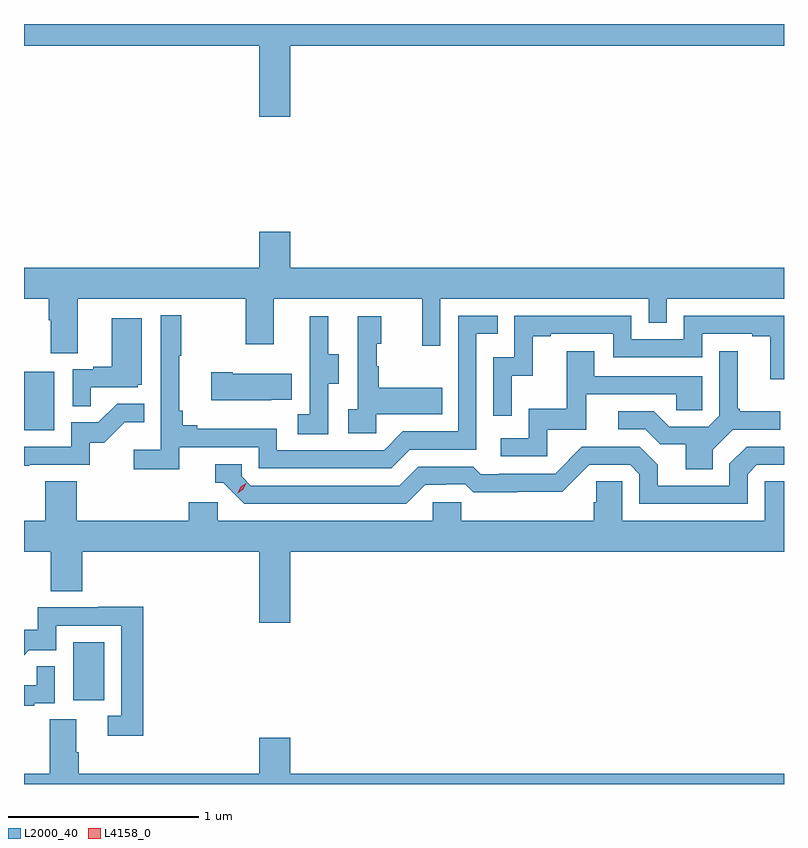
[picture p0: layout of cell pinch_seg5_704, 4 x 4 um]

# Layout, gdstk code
import gdstk
lib = gdstk.Library(unit=1e-6, precision=1e-09)
def R(c, l, rs):  # rectangles x0, y0, x1, y1
    for r in rs: c.add(gdstk.rectangle(r[:2], r[2:], *l))
def P(c, l, *ps):  # polygons
    for p in ps: c.add(gdstk.Polygon(p, *l))
L2000_40 = (2000, 40)
L4158_0 = (4158, 0)

pinch_seg5_704 = lib.new_cell('pinch_seg5_704')
R(pinch_seg5_704, L2000_40, [(1135.058,846.654,1135.222,846.961), (1134.799,848.076,1134.958,848.383)])
P(pinch_seg5_704, L2000_40, [(1136.2,850.1),(1138.799,850.1),(1138.799,850.214),(1134.799,850.214),(1134.799,850.1),(1136.036,850.1),(1136.036,849.726),(1136.2,849.726)],
  [(1135.081,848.768),(1135.966,848.768),(1135.966,848.529),(1136.113,848.529),(1136.113,848.768),(1136.894,848.768),(1136.894,848.52),(1136.991,848.52),(1136.991,848.768),(1138.086,848.768),(1138.086,848.641),(1138.182,848.641),(1138.182,848.768),(1138.799,848.768),(1138.799,848.932),(1136.2,848.932),(1136.2,849.121),(1136.036,849.121),(1136.036,848.932),(1134.799,848.932),(1134.799,848.768),(1134.929,848.768),(1134.929,848.656),(1134.941,848.656),(1134.941,848.482),(1135.081,848.482)],
  [(1135.616,847.986),(1136.034,847.986),(1136.034,847.875),(1136.731,847.875),(1136.83,847.974),(1137.18,847.974),(1137.18,848.583),(1137.293,848.583),(1137.293,848.679),(1137.084,848.679),(1137.084,848.07),(1136.793,848.07),(1136.694,847.971),(1136.13,847.971),(1136.13,848.083),(1135.711,848.083),(1135.711,848.102),(1135.634,848.102),(1135.634,848.179),(1135.615,848.179),(1135.615,848.467),(1135.627,848.467),(1135.627,848.68),(1135.518,848.68),(1135.518,847.972),(1135.377,847.972),(1135.377,847.87),(1135.616,847.87)],
  [(1137.366,848.363),(1137.476,848.363),(1137.476,848.571),(1137.571,848.571),(1137.571,848.583),(1137.9,848.583),(1137.9,848.46),(1138.368,848.46),(1138.368,848.583),(1138.631,848.583),(1138.631,848.571),(1138.727,848.571),(1138.727,848.345),(1138.799,848.345),(1138.799,848.679),(1138.272,848.679),(1138.272,848.556),(1137.996,848.556),(1137.996,848.679),(1137.378,848.679),(1137.378,848.46),(1137.27,848.46),(1137.27,848.151),(1137.366,848.151)],
  [(1136.652,848.159),(1136.999,848.159),(1136.999,848.299),(1136.665,848.299),(1136.665,848.414),(1136.655,848.414),(1136.655,848.532),(1136.68,848.532),(1136.68,848.677),(1136.556,848.677),(1136.556,848.186),(1136.505,848.186),(1136.505,848.061),(1136.652,848.061)],
  [(1136.4,848.32),(1136.455,848.32),(1136.455,848.475),(1136.401,848.475),(1136.401,848.677),(1136.303,848.677),(1136.303,848.463),(1136.304,848.463),(1136.304,848.159),(1136.241,848.159),(1136.241,848.056),(1136.4,848.056)],
  [(1135.151,848.301),(1135.398,848.301),(1135.398,848.316),(1135.42,848.316),(1135.42,848.665),(1135.262,848.665),(1135.262,848.41),(1135.163,848.41),(1135.163,848.397),(1135.056,848.397),(1135.056,848.203),(1135.151,848.203)],
  [(1137.552,848.079),(1137.757,848.079),(1137.757,848.265),(1138.231,848.265),(1138.231,848.181),(1138.368,848.181),(1138.368,848.361),(1137.799,848.361),(1137.799,848.491),(1137.655,848.491),(1137.655,848.188),(1137.456,848.188),(1137.456,848.034),(1137.309,848.034),(1137.309,847.938),(1137.552,847.938)],
  [(1138.423,847.972),(1138.53,848.079),(1138.78,848.079),(1138.78,848.176),(1138.567,848.176),(1138.567,848.188),(1138.555,848.188),(1138.555,848.491),(1138.458,848.491),(1138.458,848.151),(1138.401,848.094),(1138.195,848.094),(1138.114,848.175),(1137.927,848.175),(1137.927,848.082),(1138.068,848.082),(1138.148,848.002),(1138.283,848.002),(1138.283,847.87),(1138.423,847.87)],
  [(1136.099,848.237),(1136.207,848.237),(1136.207,848.374),(1135.897,848.374),(1135.897,848.382),(1135.785,848.382),(1135.785,848.234),(1136.099,848.234)],
  [(1134.827,847.893),(1135.146,847.893),(1135.146,848.01),(1135.222,848.01),(1135.329,848.117),(1135.433,848.117),(1135.433,848.216),(1135.289,848.216),(1135.191,848.118),(1135.047,848.118),(1135.047,847.989),(1134.799,847.989),(1134.799,847.888),(1134.827,847.888)],
  [(1136.911,847.788),(1137.018,847.788),(1137.018,847.791),(1137.121,847.791),(1137.163,847.749),(1137.396,847.749),(1137.396,847.751),(1137.632,847.751),(1137.774,847.893),(1137.99,847.893),(1138.038,847.845),(1138.038,847.689),(1138.608,847.689),(1138.608,847.845),(1138.656,847.893),(1138.799,847.893),(1138.799,847.989),(1138.602,847.989),(1138.512,847.899),(1138.512,847.785),(1138.135,847.785),(1138.135,847.895),(1138.041,847.989),(1137.735,847.989),(1137.594,847.848),(1137.301,847.848),(1137.301,847.845),(1137.202,847.845),(1137.163,847.884),(1136.874,847.884),(1136.775,847.785),(1135.992,847.785),(1135.944,847.833),(1135.944,847.896),(1135.805,847.896),(1135.805,847.8),(1135.848,847.8),(1135.959,847.689),(1136.812,847.689)],
  [(1136.2,847.436),(1138.799,847.436),(1138.799,847.808),(1138.698,847.808),(1138.698,847.6),(1137.948,847.6),(1137.948,847.808),(1137.811,847.808),(1137.811,847.698),(1137.797,847.698),(1137.797,847.6),(1137.099,847.6),(1137.099,847.698),(1136.949,847.698),(1136.949,847.6),(1135.818,847.6),(1135.818,847.698),(1135.667,847.698),(1135.667,847.6),(1135.076,847.6),(1135.076,847.808),(1134.911,847.808),(1134.911,847.6),(1134.799,847.6),(1134.799,847.436),(1134.941,847.436),(1134.941,847.228),(1135.106,847.228),(1135.106,847.436),(1136.036,847.436),(1136.036,847.062),(1136.2,847.062)],
  [(1135.427,847.148),(1135.189,847.148),(1135.189,847.143),(1134.871,847.143),(1134.871,847.026),(1134.799,847.026),(1134.799,846.892),(1134.825,846.918),(1134.969,846.918),(1134.969,847.047),(1135.311,847.047),(1135.311,846.573),(1135.239,846.573),(1135.239,846.468),(1135.427,846.468)],
  [(1134.854,846.639),(1134.96,846.639),(1134.96,846.833),(1134.865,846.833),(1134.865,846.735),(1134.799,846.735),(1134.799,846.627),(1134.854,846.627)],
  [(1138.799,846.268),(1136.2,846.268),(1136.2,846.457),(1136.036,846.457),(1136.036,846.268),(1135.088,846.268),(1135.088,846.38),(1135.075,846.38),(1135.075,846.554),(1134.935,846.554),(1134.935,846.268),(1134.799,846.268),(1134.799,846.214),(1138.799,846.214)])
P(pinch_seg5_704, L4158_0, [(1135.923,847.745),(1135.923,847.746),(1135.939,847.778),(1135.97,847.797),(1135.97,847.797),(1135.97,847.797),(1135.954,847.765),(1135.923,847.745)])

lib.write_gds('pinch_seg5_704.gds')
